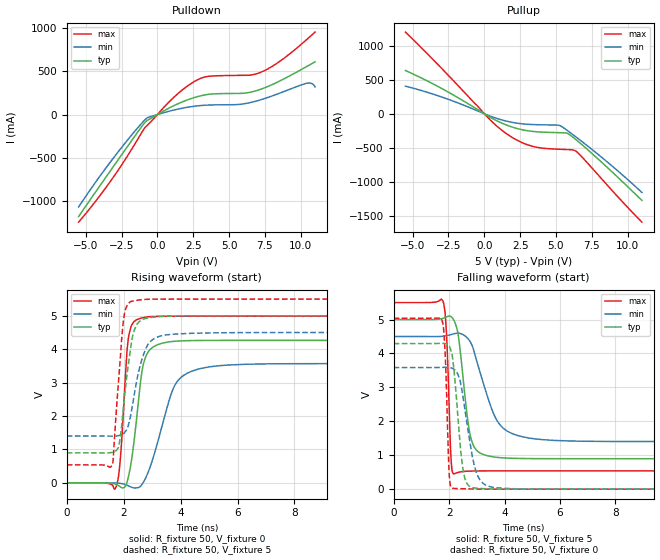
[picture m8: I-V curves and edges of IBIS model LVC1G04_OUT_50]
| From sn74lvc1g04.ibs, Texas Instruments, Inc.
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[Model]   LVC1G04_OUT_50
Model_type  Output
Vref =   0
Rref =   500
Cref =   50p
Vmeas =   2.5
| variable   typ   min   max
C_comp   8.72pF   4.54pF   12.71pF
| C_pullup   10.59pF   6.48pF   12.71pF
| C_pulldown   6.86pF   4.54pF   8.90pF
[Temperature Range]   40   100   -40
| Ambient temperature   25   85   -40
[Voltage range]   5   4.5   5.5
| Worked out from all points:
|   slope of the pulldown table from 0 to 0.75 V, typ, clamps not added: 10.8 ohm
|   slope of the pullup table from 0 to 0.75 V, typ, clamps not added: 8.31 ohm
|   rising waveform, R_fixture 50, V_fixture 0: 20-80 % time 355ps typ, 739ps min, 214ps max; typ from 0 V to 4.26 V
|   falling waveform, R_fixture 50, V_fixture 5: 20-80 % time 345ps typ, 769ps min, 127ps max; typ from 5 V to 0.897 V
|   rising waveform, R_fixture 50, V_fixture 5: 20-80 % time 342ps typ, 469ps min, 259ps max; typ from 0.897 V to 5 V
|   falling waveform, R_fixture 50, V_fixture 0: 20-80 % time 272ps typ, 432ps min, 118ps max; typ from 4.29 V to 0 V
[Pulldown]
| LVC1G04_OUT_50
|   Voltage   I(typ)   I(min)   I(max)
-5.5V     -1.18A     -1.069A    -1.246A
-3.245V   -642.1mA   -541.2mA   -764.9mA
-695mV    -67.24mA   -37.38mA   -122.3mA
1.215V    108mA      54.88mA    210.5mA
2.65V     200.6mA    97.92mA    389.2mA
3.55V     233.5mA    109.9mA    442.2mA
5.73V     244.8mA    117.9mA    453.6mA
7.21V     293mA      171.1mA    489.3mA
8.57V     391.1mA    250.2mA    619.8mA
10.38V    553.1mA    360.7mA    863.5mA
10.76V    587.8mA    359.7mA    918.8mA
11V       610mA      320.1mA    954.7mA
[Pullup]
| LVC1G04_OUT_50
|   Voltage   I(typ)   I(min)   I(max)
-5.5V     634.3mA    405.4mA    1.199A
-2.745V   344.7mA    229.3mA    615.3mA
315mV     -40.19mA   -27.11mA   -69.83mA
1.335V    -147.5mA   -97.24mA   -260mA
2.24V     -213.9mA   -137.1mA   -383.3mA
3.15V     -253.6mA   -156.4mA   -464.9mA
3.985V    -269mA     -162.1mA   -503mA
5.28V     -278.3mA   -174.6mA   -521.9mA
5.815V    -288.9mA   -248.8mA   -526mA
6.47V     -392.9mA   -352mA     -561.5mA
8.84V     -838.7mA   -753.6mA   -1.109A
11V       -1.273A    -1.156A    -1.592A
[Ramp]
| LVC1G04_OUT_50
| variable   typ   min   max
dV/dt_r   2.65/3.76E-10   2.23/7.70E-10   3.10/2.26E-10
dV/dt_f   2.52/3.57E-10   1.92/7.84E-10   3.09/1.38E-10
R_load = 50
[Rising Waveform]
| LVC1G04_OUT_50
R_fixture =   50
C_fixture =   0
L_fixture =   0
V_fixture =   0
V_fixture_min = 0
V_fixture_max = 0
|   Time   V(typ)   V(min)   V(max)
0s        213.6pV    95.02nV    102.6pV
1.73ns    -43.26mV   -2.854mV   -125.8mV
1.885ns   -118.9mV   -15.41mV   748mV
2.115ns   18.48mV    -68.68mV   3.928V
2.17ns    197.6mV    -89.8mV    4.357V
2.645ns   3.347V     -42.29mV   4.937V
2.965ns   4.021V     566.8mV    4.975V
3.785ns   4.236V     2.902V     4.988V
4.76ns    4.261V     3.432V     4.989V
22.4ns    4.264V     3.571V     4.989V
[Falling Waveform]
| LVC1G04_OUT_50
R_fixture =   50
C_fixture =   0
L_fixture =   0
V_fixture =   5
V_fixture_min = 4.5
V_fixture_max = 5.5
|   Time   V(typ)   V(min)   V(max)
0s        5V         4.5V       5.5V
1.785ns   5.037V     4.508V     5.532V
1.91ns    5.08V      4.525V     4.494V
2.07ns    5.085V     4.558V     898.7mV
2.155ns   5.005V     4.577V     450.2mV
2.78ns    1.524V     4.318V     533.1mV
3.38ns    985.8mV    2.739V     538.1mV
3.99ns    920.8mV    1.772V     538.6mV
5.365ns   898.8mV    1.46V      538.8mV
22.4ns    897.1mV    1.402V     538.8mV
[Rising Waveform]
| LVC1G04_OUT_50
R_fixture =   50
C_fixture =   0
L_fixture =   0
V_fixture =   5
V_fixture_min = 4.5
V_fixture_max = 5.5
|   Time   V(typ)   V(min)   V(max)
0s        897.1mV    1.402V     538.8mV
1.61ns    914.5mV    1.4V       548.7mV
1.82ns    1.08V      1.415V     3.051V
1.985ns   2.215V     1.474V     4.799V
2.07ns    2.9V       1.547V     5.21V
2.265ns   4.147V     2.107V     5.431V
2.455ns   4.729V     3.04V      5.461V
2.795ns   4.925V     4.047V     5.491V
3.495ns   4.986V     4.427V     5.5V
22.4ns    5V         4.5V       5.5V
[Falling Waveform]
| LVC1G04_OUT_50
R_fixture =   50
C_fixture =   0
L_fixture =   0
V_fixture =   0
V_fixture_min = 0
V_fixture_max = 0
|   Time   V(typ)   V(min)   V(max)
0s        4.291V     3.584V     5.037V
1.74ns    4.299V     3.589V     4.985V
1.855ns   4.294V     3.593V     4.048V
2.005ns   4.213V     3.588V     422.2mV
2.12ns    3.892V     3.561V     24.71mV
2.5ns     595.2mV    2.722V     12.23mV
2.865ns   41.66mV    857.2mV    4.627mV
3.205ns   17.97mV    184.7mV    1.821mV
3.985ns   3.195mV    24.5mV     271uV
22.4ns    5.04uV     9.388uV    587.5nV
